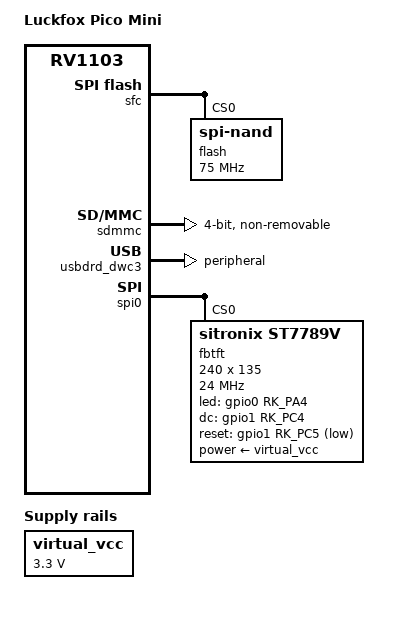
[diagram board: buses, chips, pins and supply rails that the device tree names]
// SPDX-License-Identifier: (GPL-2.0+ OR MIT)
/*
 * Copyright (c) 2023 Luckfox Electronics Co., Ltd.
 */

/dts-v1/;

#include "rv1103.dtsi"
#include "rv1106-evb.dtsi"
#include "rv1103-luckfox-pico-ipc.dtsi"

/ {
	model = "Luckfox Pico Mini";
	compatible = "rockchip,rv1103g-38x38-ipc-v10", "rockchip,rv1103";

	virtual_vcc: vcc-regulator {
                compatible = "regulator-fixed";
                regulator-name = "virtual-vcc";
                regulator-min-microvolt = <3300000>;
                regulator-max-microvolt = <3300000>;
                regulator-always-on;  // 标记为持续开启
	};

        adc-keys {
                status = "disabled";
        };

        dht11_sensor {
                status = "disabled";
        };
};

/**********SFC**********/
&sfc {
	status = "okay";
	flash@0 {
		compatible = "spi-nand";
		reg = <0>;
		spi-max-frequency = <75000000>;
		spi-rx-bus-width = <4>;
		spi-tx-bus-width = <1>;
	};
};

/**********SDMMC**********/
&sdmmc {
	max-frequency = <50000000>;
	no-mmc;
	bus-width = <4>;
	cap-mmc-highspeed;
	cap-sd-highspeed;
	disable-wp;
	
	//sdio
	cap-sdio-irq;
	non-removable;	
	no-1-8-v;
	supports-sdio;

	pinctrl-names = "default";
	pinctrl-0 = <&sdmmc0_clk &sdmmc0_cmd &sdmmc0_det &sdmmc0_bus4>;
	status = "okay";
};

/**********ETH**********/
&gmac {
	status = "disabled";
};

/**********USB**********/
&usbdrd_dwc3 {
	status = "okay";
	dr_mode = "peripheral";
};

/**********SPI**********/
/* SPI0_M0 */
&spi0 {
        status = "okay";
        pinctrl-0 = <&spi0m0_clk &spi0m0_mosi &spi0m0_cs0>;
        spidev@0 {
                status = "disabled";
                spi-max-frequency = <20000000>;
        };

        fbtft@0{
                compatible = "sitronix,st7789v";
                reg = <0>;
                spi-max-frequency = <24000000>;
                fps = <60>;
                width = <240>;     // 水平分辨率
                height = <135>;    // 垂直分辨率
                rotate = <0>;
                buswidth = <8>;
                debug = <0x7>;
                power-supply = <&virtual_vcc>;
                led-gpios = <&gpio0 RK_PA4 GPIO_ACTIVE_HIGH>;//BL
                dc-gpios = <&gpio1 RK_PC4 GPIO_ACTIVE_HIGH>;      //D-h C-l
                reset-gpios = <&gpio1 RK_PC5 GPIO_ACTIVE_LOW>;    //RES
                init = <
                        0x1000001// 复位
                        0x2000064// 延时 100 ms
                        0x1000011// 退出睡眠模式
                        0x2000078// 延时 120 ms  
                        // 0x1000036 0x60//设置显示方向
                        0x100003A 0x55// 设置颜色格式为 16 位 RGB
                        0x1000020
                        0x10000B2 0x01 0x01 0x00 0x01 0x01
                        0x10000B7 0x35

                        0x10000BB 0x35
                        0x10000C0 0x2C
                        0x10000C2 0x01
                        0x10000C3 0x0B
                        0x10000C4 0x20

                        0x1000051 0xFF
                        0x10000C6 0x00
                        0x10000D0 0xA4 0xA1

                        0x10000E0 0xD0 0x00 0x02 0x07 0x0B 0x1A 0x31 0x54 0x40 0x29 0x12 0x12 0x17 
                        0x10000E1 0xD0 0x00 0x02 0x07 0x05 0x25 0x2D 0x44 0x45 0x1C 0x18 0x16 0x1C 

                        0x1000021
                        0x1000028
                        0x1000029// 开启显示
                >;
        };
};

/**********I2C**********/
/* I2C3_M1 */
&i2c3 {
	status = "disabled";
	clock-frequency = <100000>;
};

/**********UART**********/
/* UART3_M1 */
&uart3 {
	status = "disabled";
};

/* UART4_M1 */
&uart4 {
	status = "disabled";
};

/**********PWM**********/
/* PWM1_M0 */
&pwm1 {
	status = "disabled";
};
